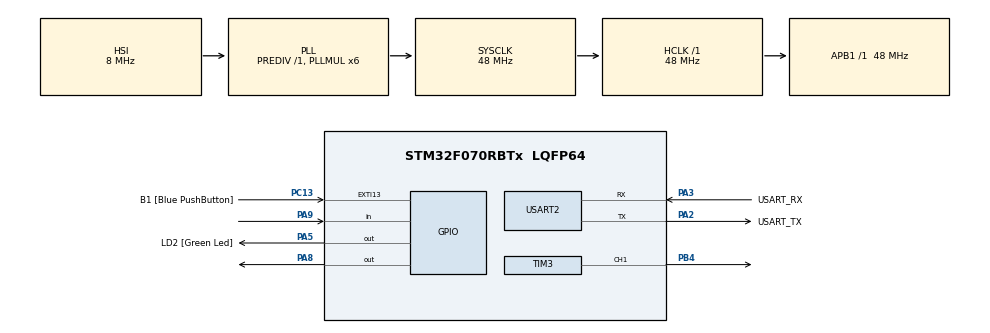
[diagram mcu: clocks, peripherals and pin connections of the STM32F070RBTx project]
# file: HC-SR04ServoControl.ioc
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Mcu.Family=STM32F0
PC15-OSC32_OUT.Mode=LSE-External-Oscillator
TIM3.AutoReloadPreload=TIM_AUTORELOAD_PRELOAD_DISABLE
PC13.Signal=GPXTI13
PA14.GPIO_Label=TCK
PC13.GPIO_Label=B1 [Blue PushButton]
PC14-OSC32_IN.Signal=RCC_OSC32_IN
PC15-OSC32_OUT.GPIO_Label=RCC_OSC32_OUT
RCC.SYSCLKSource=RCC_SYSCLKSOURCE_PLLCLK
ProjectManager.StackSize=0x400
PA3.Mode=Asynchronous
PA13.Signal=SYS_SWDIO
TIM1.Prescaler=48-1
ProjectManager.TargetToolchain=STM32CubeIDE
RCC.HCLKFreq_Value=48000000
TIM3.Period=1024-1
PA9.Signal=GPIO_Input
PC15-OSC32_OUT.Signal=RCC_OSC32_OUT
RCC.AHBFreq_Value=48000000
PF0-OSC_IN.Mode=HSE-External-Clock-Source
TIM3.Channel-PWM\ Generation1\ CH1=TIM_CHANNEL_1
PA5.Signal=GPIO_Output
PF0-OSC_IN.GPIO_Label=RCC_OSC_IN
board=NUCLEO-F070RB
USART2.VirtualMode-Asynchronous=VM_ASYNC
RCC.PLLMUL=RCC_PLL_MUL6
PC14-OSC32_IN.Mode=LSE-External-Oscillator
PA14.Mode=Serial_Wire
TIM3.Prescaler=937
PF1-OSC_OUT.GPIO_Label=RCC_OSC_OUT
PA8.Signal=GPIO_Output
SH.S_TIM3_CH1.0=TIM3_CH1,PWM Generation1 CH1
PA13.Mode=Serial_Wire
Mcu.Name=STM32F070RBTx
VP_TIM1_VS_ClockSourceINT.Mode=Internal
PA2.Signal=USART2_TX
PA13.GPIO_Label=TMS
RCC.SYSCLKFreq_VALUE=48000000
Mcu.Package=LQFP64
PA5.GPIO_Label=LD2 [Green Led]
PC13.GPIO_ModeDefaultEXTI=GPIO_MODE_IT_FALLING
PA2.GPIO_Label=USART_TX
PA14.Signal=SYS_SWCLK
ProjectManager.HeapSize=0x200
RCC.APB1TimFreq_Value=48000000
PA2.Mode=Asynchronous
PC14-OSC32_IN.GPIO_Label=RCC_OSC32_IN
PF0-OSC_IN.Signal=RCC_OSC_IN
RCC.APB1Freq_Value=48000000
VP_TIM3_VS_ClockSourceINT.Mode=Internal
PF1-OSC_OUT.Signal=RCC_OSC_OUT
PB4.Signal=S_TIM3_CH1
PA3.GPIO_Label=USART_RX
PA3.Signal=USART2_RX

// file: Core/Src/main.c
/* USER CODE BEGIN Header */
/**
  ******************************************************************************
  * @file           : main.c
  * @brief          : Main program body
  ******************************************************************************
  * @attention
  *
  * <h2><center>&copy; Copyright (c) 2021 STMicroelectronics.
  * All rights reserved.</center></h2>
  *
  * This software component is licensed by ST under BSD 3-Clause license,
  * the "License"; You may not use this file except in compliance with the
  * License. You may obtain a copy of the License at:
  *                        opensource.org/licenses/BSD-3-Clause
  *
  ******************************************************************************
  */
/* USER CODE END Header */
#include "main.h"

TIM_HandleTypeDef htim1;
TIM_HandleTypeDef htim3;

UART_HandleTypeDef huart2;

void SystemClock_Config(void);
static void MX_GPIO_Init(void);
static void MX_USART2_UART_Init(void);
static void MX_TIM3_Init(void);
static void MX_TIM1_Init(void);
/* USER CODE BEGIN PFP */
void delay_us (uint16_t us)
{
	__HAL_TIM_SET_COUNTER(&htim1,0);  // set the counter value a 0
	while (__HAL_TIM_GET_COUNTER(&htim1) < us);  // wait for the counter to reach the us input in the parameter
}

uint32_t Read_HCSR04(){
	uint32_t temp = 0;

	GPIOA->ODR = 0x100;
	delay_us(10);
	GPIOA->ODR = 0;

	while(!(GPIOA->IDR & 0x200));

	while(GPIOA->IDR & 0x200){
		temp++;
		delay_us(1);
	}
	return temp;
}
/* USER CODE END PFP */

/* USER CODE BEGIN 0 */
uint32_t time = 0;
uint32_t distance = 0;
/* USER CODE END 0 */

int main(void)
{

  /* MCU Configuration--------------------------------------------------------*/

  /* Reset of all peripherals, Initializes the Flash interface and the Systick. */
  HAL_Init();

  /* Configure the system clock */
  SystemClock_Config();

  /* Initialize all configured peripherals */
  MX_GPIO_Init();
  MX_USART2_UART_Init();
  MX_TIM3_Init();
  MX_TIM1_Init();
  /* USER CODE BEGIN 2 */
  HAL_TIM_PWM_Start(&htim3, TIM_CHANNEL_1);
  /* USER CODE END 2 */

  /* Infinite loop */
  /* USER CODE BEGIN WHILE */
  while (1)
  {
	  HAL_TIM_Base_Start(&htim1);

	  time = Read_HCSR04();
	  distance = time / 29;

	  if(distance < 10){
		  TIM3->CCR1 = 25;
		  HAL_Delay(100);
	  }
	  else if(distance < 20 && distance > 10){
		  TIM3->CCR1 = 75;
		  HAL_Delay(100);
	  }
	  else{
		  TIM3->CCR1 = 125;
		  HAL_Delay(100);
	  }
    /* USER CODE END WHILE */

  }
}

void SystemClock_Config(void)
{
  RCC_OscInitTypeDef RCC_OscInitStruct = {0};
  RCC_ClkInitTypeDef RCC_ClkInitStruct = {0};

  /** Initializes the RCC Oscillators according to the specified parameters
  * in the RCC_OscInitTypeDef structure.
  */
  RCC_OscInitStruct.OscillatorType = RCC_OSCILLATORTYPE_HSI;
  RCC_OscInitStruct.HSIState = RCC_HSI_ON;
  RCC_OscInitStruct.HSICalibrationValue = RCC_HSICALIBRATION_DEFAULT;
  RCC_OscInitStruct.PLL.PLLState = RCC_PLL_ON;
  RCC_OscInitStruct.PLL.PLLSource = RCC_PLLSOURCE_HSI;
  RCC_OscInitStruct.PLL.PLLMUL = RCC_PLL_MUL6;
  RCC_OscInitStruct.PLL.PREDIV = RCC_PREDIV_DIV1;
  if (HAL_RCC_OscConfig(&RCC_OscInitStruct) != HAL_OK)
  {
    Error_Handler();
  }
  /** Initializes the CPU, AHB and APB buses clocks
  */
  RCC_ClkInitStruct.ClockType = RCC_CLOCKTYPE_HCLK|RCC_CLOCKTYPE_SYSCLK
                              |RCC_CLOCKTYPE_PCLK1;
  RCC_ClkInitStruct.SYSCLKSource = RCC_SYSCLKSOURCE_PLLCLK;
  RCC_ClkInitStruct.AHBCLKDivider = RCC_SYSCLK_DIV1;
  RCC_ClkInitStruct.APB1CLKDivider = RCC_HCLK_DIV1;

  if (HAL_RCC_ClockConfig(&RCC_ClkInitStruct, FLASH_LATENCY_1) != HAL_OK)
  {
    Error_Handler();
  }
}

static void MX_TIM1_Init(void)
{

  TIM_ClockConfigTypeDef sClockSourceConfig = {0};
  TIM_MasterConfigTypeDef sMasterConfig = {0};

  htim1.Instance = TIM1;
  htim1.Init.Prescaler = 48-1;
  htim1.Init.CounterMode = TIM_COUNTERMODE_UP;
  htim1.Init.Period = 65535;
  htim1.Init.ClockDivision = TIM_CLOCKDIVISION_DIV1;
  htim1.Init.RepetitionCounter = 0;
  htim1.Init.AutoReloadPreload = TIM_AUTORELOAD_PRELOAD_DISABLE;
  if (HAL_TIM_Base_Init(&htim1) != HAL_OK)
  {
    Error_Handler();
  }
  sClockSourceConfig.ClockSource = TIM_CLOCKSOURCE_INTERNAL;
  if (HAL_TIM_ConfigClockSource(&htim1, &sClockSourceConfig) != HAL_OK)
  {
    Error_Handler();
  }
  sMasterConfig.MasterOutputTrigger = TIM_TRGO_RESET;
  sMasterConfig.MasterSlaveMode = TIM_MASTERSLAVEMODE_DISABLE;
  if (HAL_TIMEx_MasterConfigSynchronization(&htim1, &sMasterConfig) != HAL_OK)
  {
    Error_Handler();
  }

}

static void MX_TIM3_Init(void)
{

  TIM_ClockConfigTypeDef sClockSourceConfig = {0};
  TIM_MasterConfigTypeDef sMasterConfig = {0};
  TIM_OC_InitTypeDef sConfigOC = {0};

  htim3.Instance = TIM3;
  htim3.Init.Prescaler = 937;
  htim3.Init.CounterMode = TIM_COUNTERMODE_UP;
  htim3.Init.Period = 1024-1;
  htim3.Init.ClockDivision = TIM_CLOCKDIVISION_DIV1;
  htim3.Init.AutoReloadPreload = TIM_AUTORELOAD_PRELOAD_DISABLE;
  if (HAL_TIM_Base_Init(&htim3) != HAL_OK)
  {
    Error_Handler();
  }
  sClockSourceConfig.ClockSource = TIM_CLOCKSOURCE_INTERNAL;
  if (HAL_TIM_ConfigClockSource(&htim3, &sClockSourceConfig) != HAL_OK)
  {
    Error_Handler();
  }
  if (HAL_TIM_PWM_Init(&htim3) != HAL_OK)
  {
    Error_Handler();
  }
  sMasterConfig.MasterOutputTrigger = TIM_TRGO_RESET;
  sMasterConfig.MasterSlaveMode = TIM_MASTERSLAVEMODE_DISABLE;
  if (HAL_TIMEx_MasterConfigSynchronization(&htim3, &sMasterConfig) != HAL_OK)
  {
    Error_Handler();
  }
  sConfigOC.OCMode = TIM_OCMODE_PWM1;
  sConfigOC.Pulse = 0;
  sConfigOC.OCPolarity = TIM_OCPOLARITY_HIGH;
  sConfigOC.OCFastMode = TIM_OCFAST_DISABLE;
  if (HAL_TIM_PWM_ConfigChannel(&htim3, &sConfigOC, TIM_CHANNEL_1) != HAL_OK)
  {
    Error_Handler();
  }
  HAL_TIM_MspPostInit(&htim3);

}

static void MX_USART2_UART_Init(void)
{

  huart2.Instance = USART2;
  huart2.Init.BaudRate = 38400;
  huart2.Init.WordLength = UART_WORDLENGTH_8B;
  huart2.Init.StopBits = UART_STOPBITS_1;
  huart2.Init.Parity = UART_PARITY_NONE;
  huart2.Init.Mode = UART_MODE_TX_RX;
  huart2.Init.HwFlowCtl = UART_HWCONTROL_NONE;
  huart2.Init.OverSampling = UART_OVERSAMPLING_16;
  huart2.Init.OneBitSampling = UART_ONE_BIT_SAMPLE_DISABLE;
  huart2.AdvancedInit.AdvFeatureInit = UART_ADVFEATURE_NO_INIT;
  if (HAL_UART_Init(&huart2) != HAL_OK)
  {
    Error_Handler();
  }

}

static void MX_GPIO_Init(void)
{
  GPIO_InitTypeDef GPIO_InitStruct = {0};

  /* GPIO Ports Clock Enable */
  __HAL_RCC_GPIOC_CLK_ENABLE();
  __HAL_RCC_GPIOF_CLK_ENABLE();
  __HAL_RCC_GPIOA_CLK_ENABLE();
  __HAL_RCC_GPIOB_CLK_ENABLE();

  /*Configure GPIO pin Output Level */
  HAL_GPIO_WritePin(GPIOA, LD2_Pin|GPIO_PIN_8, GPIO_PIN_RESET);

  /*Configure GPIO pin : B1_Pin */
  GPIO_InitStruct.Pin = B1_Pin;
  GPIO_InitStruct.Mode = GPIO_MODE_IT_FALLING;
  GPIO_InitStruct.Pull = GPIO_NOPULL;
  HAL_GPIO_Init(B1_GPIO_Port, &GPIO_InitStruct);

  /*Configure GPIO pins : LD2_Pin PA8 */
  GPIO_InitStruct.Pin = LD2_Pin|GPIO_PIN_8;
  GPIO_InitStruct.Mode = GPIO_MODE_OUTPUT_PP;
  GPIO_InitStruct.Pull = GPIO_NOPULL;
  GPIO_InitStruct.Speed = GPIO_SPEED_FREQ_LOW;
  HAL_GPIO_Init(GPIOA, &GPIO_InitStruct);

  /*Configure GPIO pin : PA9 */
  GPIO_InitStruct.Pin = GPIO_PIN_9;
  GPIO_InitStruct.Mode = GPIO_MODE_INPUT;
  GPIO_InitStruct.Pull = GPIO_NOPULL;
  HAL_GPIO_Init(GPIOA, &GPIO_InitStruct);

}

void Error_Handler(void)
{
  __disable_irq();
  while (1)
  {
  }
}

/************************ (C) COPYRIGHT STMicroelectronics *****END OF FILE****/
